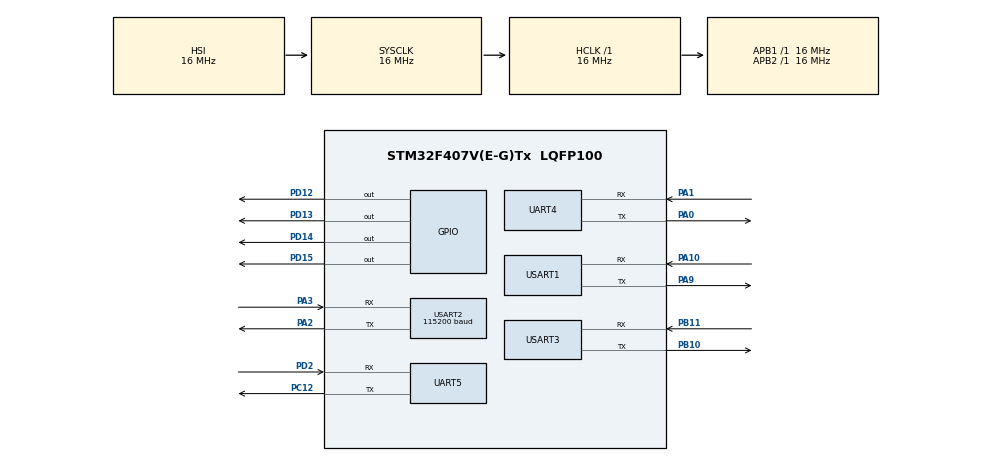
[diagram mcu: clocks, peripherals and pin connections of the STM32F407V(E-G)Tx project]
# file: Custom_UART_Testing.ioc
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Mcu.Family=STM32F4
Mcu.Name=STM32F407V(E-G)Tx
Mcu.Package=LQFP100
NVIC.PriorityGroup=NVIC_PRIORITYGROUP_4
NVIC.UART4_IRQn=true\:0\:0\:false\:false\:true\:true\:true\:true
NVIC.UART5_IRQn=true\:0\:0\:false\:false\:true\:true\:true\:true
NVIC.USART1_IRQn=true\:0\:0\:false\:false\:true\:true\:true\:true
NVIC.USART2_IRQn=true\:0\:0\:false\:false\:true\:true\:true\:true
NVIC.USART3_IRQn=true\:0\:0\:false\:false\:true\:true\:true\:true
PA0-WKUP.Mode=Asynchronous
PA0-WKUP.Signal=UART4_TX
PA1.Mode=Asynchronous
PA1.Signal=UART4_RX
PA10.Mode=Asynchronous
PA10.Signal=USART1_RX
PA2.Mode=Asynchronous
PA2.Signal=USART2_TX
PA3.Mode=Asynchronous
PA3.Signal=USART2_RX
PA9.Mode=Asynchronous
PA9.Signal=USART1_TX
PB10.Mode=Asynchronous
PB10.Signal=USART3_TX
PB11.Mode=Asynchronous
PB11.Signal=USART3_RX
PC12.Mode=Asynchronous
PC12.Signal=UART5_TX
PD12.Signal=GPIO_Output
PD13.Signal=GPIO_Output
PD14.Signal=GPIO_Output
PD15.Signal=GPIO_Output
PD2.Mode=Asynchronous
PD2.Signal=UART5_RX
ProjectManager.HeapSize=0x200
ProjectManager.StackSize=0x400
ProjectManager.TargetToolchain=STM32CubeIDE
RCC.AHBFreq_Value=16000000
RCC.APB1Freq_Value=16000000
RCC.APB2Freq_Value=16000000
RCC.CortexFreq_Value=16000000
RCC.HSE_VALUE=25000000
RCC.HSI_VALUE=16000000
RCC.LSE_VALUE=32768
RCC.SYSCLKFreq_VALUE=16000000
RCC.VCOOutputFreq_Value=192000000
UART4.VirtualMode=Asynchronous
UART5.VirtualMode=Asynchronous
USART1.VirtualMode=VM_ASYNC
USART2.BaudRate=115200
USART2.VirtualMode=VM_ASYNC
USART3.VirtualMode=VM_ASYNC
board=custom

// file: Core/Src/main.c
/* USER CODE BEGIN Header */
/**
  ******************************************************************************
  * @file           : main.c
  * @brief          : Main program for reception of UART packets
  * @date			: 2/20/24
  * @author			: S24-21
  ******************************************************************************
  * @attention
  *
  * Copyright (c) 2024 STMicroelectronics.
  * All rights reserved.
  *
  * This software is licensed under terms that can be found in the LICENSE file
  * in the root directory of this software component.
  * If no LICENSE file comes with this software, it is provided AS-IS.
  *
  ******************************************************************************
  */
/* USER CODE END Header */
#include "main.h"

UART_HandleTypeDef huart1;
UART_HandleTypeDef huart2;
UART_HandleTypeDef huart3;
UART_HandleTypeDef huart4;
UART_HandleTypeDef huart5;

/* USER CODE BEGIN PV */

/*
 * PACKET STRUCTURE --> |SOP|DATATYPE|SENSOR ID|TIMESTAMP|DATA|CRC|EOP|
 * 						|1B|1B|1B|4B|8B|1B|1B| = 17 Bytes
 */
#define TEMPERATURE 0b00
#define HUMIDITY 0b01
#define SOUND 0b10
#define VIBRATION 0b11

typedef struct {
  uint8_t sop;        // Start of packet
  uint8_t datatype;   // Data type
  uint8_t sensorId;   // Sensor ID
  uint32_t timestamp; // Timestamp
//  uint64_t data; 	  // Sensor data
  int64_t data;        // Sensor data
  uint8_t crc;        // CRC for error checking
  uint8_t eop;
} SensorDataPacket;

typedef enum { // FSM States
    UART_WAIT_FOR_SOP,
    UART_DATATYPE,
    UART_SENSOR_ID,
    UART_TIMESTAMP,
    UART_DATA,
    UART_CRC,
	UART_EOP,
    UART_DONE
} UART_State_t;

// Declaration for USART1
uint8_t rx_data1[1];
SensorDataPacket sensorData1;
UART_State_t uartState1 = UART_WAIT_FOR_SOP;
uint32_t timestampBuffer1;
uint64_t dataBuffer1;
uint32_t dataIndex1 = 0; // Used for buffer indexing

// Declaration for USART2
uint8_t rx_data2[1];
SensorDataPacket sensorData2;
UART_State_t uartState2 = UART_WAIT_FOR_SOP;
uint32_t timestampBuffer2;
uint64_t dataBuffer2;
uint32_t dataIndex2 = 0; // Used for buffer indexing

// Declaration for USART4
uint8_t rx_data3[1];
SensorDataPacket sensorData3;
UART_State_t uartState3 = UART_WAIT_FOR_SOP;
uint32_t timestampBuffer3;
uint64_t dataBuffer3;
uint32_t dataIndex3 = 0; // Used for buffer indexing

uint8_t crc_calculated = 0; // Placeholder for the calculated CRC
//uint32_t dataIndex = 0; // Used for buffer indexing

/* USER CODE END PV */

void SystemClock_Config(void);
static void MX_GPIO_Init(void);
static void MX_USART2_UART_Init(void);
static void MX_USART3_UART_Init(void);
static void MX_USART1_UART_Init(void);
static void MX_UART4_Init(void);
static void MX_UART5_Init(void);
/* USER CODE BEGIN PFP */
void resetState(void);
int validateCRC(const SensorDataPacket *packet);
void printData(const SensorDataPacket *packet);
void processUartData(UART_HandleTypeDef *huart, SensorDataPacket *sensorData, uint8_t *rxData,
                     UART_State_t *uartState, uint32_t *timestampBuffer, uint64_t *dataBuffer, uint32_t *dataIndex);
void resetUartState(UART_State_t *uartState, uint32_t *timestampBuffer, uint64_t *dataBuffer);
void unpackData(uint64_t packedData, int16_t* x, int16_t* y, int16_t* z);
/* USER CODE END PFP */

/* USER CODE BEGIN 0 */

void HAL_UART_RxCpltCallback(UART_HandleTypeDef *huart) {
    if(huart->Instance == USART1) {
        // Process data from USART1
    	processUartData(huart, &sensorData1, rx_data1, &uartState1, &timestampBuffer1, &dataBuffer1, &dataIndex1);
    }
    else if(huart->Instance == USART2) {
        // Process data from USART2
    	processUartData(huart, &sensorData2, rx_data2, &uartState2, &timestampBuffer2, &dataBuffer2, &dataIndex2);
    }
    else if(huart->Instance == UART4) {
        // Process data from USART2
    	processUartData(huart, &sensorData3, rx_data3, &uartState3, &timestampBuffer3, &dataBuffer3, &dataIndex3);
    }

    // Re-enable UART reception interrupt correctly for each port
    if (huart->Instance == USART1) {
        HAL_UART_Receive_IT(&huart1, rx_data1, 1);
    }
    else if (huart->Instance == USART2) {
        HAL_UART_Receive_IT(&huart2, rx_data2, 1);
    }
    else if (huart->Instance == UART4) {
    	HAL_UART_Receive_IT(&huart4, rx_data3, 1);
    }
}

void processUartData(UART_HandleTypeDef *huart, SensorDataPacket *sensorData, uint8_t *rxData,
                     UART_State_t *uartState, uint32_t *timestampBuffer, uint64_t *dataBuffer, uint32_t *dataIndex) {    // Your existing switch case logic here, adapted for the specific sensorData and rx_data
    // This function needs to be adapted from your existing HAL_UART_RxCpltCallback logic
	uint8_t rxByte = *rxData; // The received byte
//    	sprintf(buffer, "RxByte: 0x%08lX\r\n", rxByte);
//    	HAL_UART_Transmit(&huart3, (uint8_t*)buffer, strlen(buffer), 100); // Print debug info
    switch (*uartState) {
        case UART_WAIT_FOR_SOP: // SOP Case
            if (rxByte == 0x53) { // SOP byte = 0x53 ('S')
            	sensorData->sop = rxByte; // Set the sop
            	*uartState = UART_DATATYPE;
//                    HAL_GPIO_WritePin(GPIOD, GPIO_PIN_13, GPIO_PIN_SET); // Orange LED set when packet is complete
            }
            break;
        case UART_DATATYPE: // Data type Case
        	sensorData->datatype = rxByte; // Set th		e data type (Temp = 00, Humidity = 01, Sound = 10, Vibration = 11)
            *uartState = UART_SENSOR_ID; // Next parameter
            break;

        case UART_SENSOR_ID: // Sensor ID Case
        	sensorData->sensorId = rxByte; // Set the sensor ID (000, 001, 010, 011, 100, 101, 110, 111 (i.e. Sensor 1-8)
        	*dataIndex = 0; // Reset dataIndex for the next field
            *uartState = UART_TIMESTAMP; // Next parameter
//                HAL_GPIO_WritePin(GPIOD, GPIO_PIN_13, GPIO_PIN_SET); // Orange LED set when packet is complete
            break;

        case UART_TIMESTAMP: // Timestamp Case
            // Combine byte into timestamp assuming little endian - least significant byte first
//            	timestampBuffer |= ((uint32_t)rxByte << (24 - (dataIndex * 8)));
        	*timestampBuffer |= ((uint32_t)rxByte << ((*dataIndex-1) * 8));
//            	sprintf(buffer, "RxByte: 0x%08lX\r\n", rxByte);
//            	HAL_UART_Transmit(&huart3, (uint8_t*)buffer, strlen(buffer), 100); // Print debug info
//            	sprintf(buffer, "Timestamp partial: 0x%08lX\r\n", timestampBuffer);
//            	HAL_UART_Transmit(&huart3, (uint8_t*)buffer, strlen(buffer), 100); // Print debug info
            (*dataIndex)++;
            if (*dataIndex >= sizeof(sensorData->timestamp)) {
                sensorData->timestamp = *timestampBuffer; // Assign the complete timestamp
                *dataIndex = 0; // Reset dataIndex for the data field
                *timestampBuffer = 0; // Clear the buffer for the next use
                *uartState = UART_DATA; // Move to the next state
            }
            break;

        case UART_DATA: // Data Case
            // Combine byte into data assuming little endian - least significant byte first
        	*dataBuffer |= ((uint64_t)rxByte << ((*dataIndex-1) * 8));//            	sprintf(buffer, "Data partial: 0x%016llx\r\n", dataBuffer);
//            	HAL_UART_Transmit(&huart3, (uint8_t*)buffer, strlen(buffer), 100); // Print debug info
            (*dataIndex)++;
            if (*dataIndex >= sizeof(sensorData->data)) {
                sensorData->data = *dataBuffer; // Assign the complete data
                *dataIndex = 0; // Reset dataIndex for the CRC field
                *dataBuffer = 0; // Clear the buffer for the next use
                *uartState = UART_CRC; // Move to the next state
            }
            break;

        case UART_CRC: // CRC Case
        	if(rxByte != 0){
                sensorData->crc = rxByte; // Set the CRC value based on algorithm
                *uartState = UART_EOP; // Next parameter
        	}
//                HAL_GPIO_WritePin(GPIOD, GPIO_PIN_13, GPIO_PIN_SET); // Orange LED set when packet is complete
            break;

        case UART_EOP:
            if (rxByte == 0x45) { // EOP byte = 0x45 ('E')
                *uartState = UART_DONE; // Packet reception is complete
                sensorData->eop = rxByte; // Set the eop
                if(huart->Instance == USART1){
                	HAL_GPIO_WritePin(GPIOD, GPIO_PIN_12, GPIO_PIN_SET); // Red LED set when packet is complete
                }
                else if(huart->Instance == USART2){
                	HAL_GPIO_WritePin(GPIOD, GPIO_PIN_13, GPIO_PIN_SET); // Orange LED set when packet is complete
                }
                else if(huart->Instance == UART4){
                	HAL_GPIO_WritePin(GPIOD, GPIO_PIN_14, GPIO_PIN_SET); // Blue LED set when packet is complete
                }
//                HAL_GPIO_WritePin(GPIOD, GPIO_PIN_13, GPIO_PIN_SET); // Orange LED set when packet is complete
            } else {
//                    uartState = UART_DONE; // Packet reception is complete
//                    sensorData.eop = rxByte; // Set the eop
//                    HAL_GPIO_WritePin(GPIOD, GPIO_PIN_13, GPIO_PIN_SET); // Orange LED set when packet is complete
                uartState = UART_WAIT_FOR_SOP; // Invalid EOP, reset FSM
            }
            break;

        case UART_DONE:
            // Packet is complete, validate CRC and take appropriate action
//                if (validateCRC(&sensorData)) {
//                    processData(&sensorData); // Process the data
//                }
        	printData(sensorData); // Process the data
        	resetUartState(uartState, timestampBuffer, dataBuffer);
            break;
    }
    // Ready to receive the next byte
    HAL_UART_Receive_IT(huart, rxData, 1);
}

void resetUartState(UART_State_t *uartState, uint32_t *timestampBuffer, uint64_t *dataBuffer) {
    *uartState = UART_WAIT_FOR_SOP; // Reset UART state
    *timestampBuffer = 0; // Clear the timestamp buffer
    *dataBuffer = 0; // Clear the data buffer
    HAL_GPIO_WritePin(GPIOD, GPIO_PIN_12, GPIO_PIN_RESET);
    HAL_GPIO_WritePin(GPIOD, GPIO_PIN_13, GPIO_PIN_RESET);
    HAL_GPIO_WritePin(GPIOD, GPIO_PIN_14, GPIO_PIN_RESET);
    HAL_GPIO_WritePin(GPIOD, GPIO_PIN_15, GPIO_PIN_RESET);
}

int validateCRC(const SensorDataPacket *packet) {
    // Placeholder function to validate CRC - replace with actual CRC calculation
    return packet->crc == crc_calculated;
}

void printData(const SensorDataPacket *packet) {
    char buffer[100]; // Ensure the buffer is large enough for all the data
    char buffer2[100]; // Ensure the buffer is large enough for all the data
    double data;
    // Assuming the data field is treated as fixed-point and needs to be converted back to float
    if(packet->datatype != VIBRATION){
        data = packet->data / 100.0;  // Convert fixed-point back to double
    }

    // Start of Packet (SOP) - Hexadecimal
    sprintf(buffer, "SOP: 0x%02X\r\n", packet->sop);
    HAL_UART_Transmit(&huart3, (uint8_t*)buffer, strlen(buffer), 100);

    // Data Type - Binary
    sprintf(buffer, "Data Type: %u\r\n", packet->datatype);
    HAL_UART_Transmit(&huart3, (uint8_t*)buffer, strlen(buffer), 100);

    // Sensor ID - Binary
    sprintf(buffer, "Sensor ID: %u\r\n", packet->sensorId);
    HAL_UART_Transmit(&huart3, (uint8_t*)buffer, strlen(buffer), 100);

    // Timestamp - Decimal
    sprintf(buffer, "Timestamp: %lu\r\n", packet->timestamp);
    HAL_UART_Transmit(&huart3, (uint8_t*)buffer, strlen(buffer), 100);

//    // Data - Decimal
//    sprintf(buffer, "Data: %lu\r\n", packet->data);
//    HAL_UART_Transmit(&huart3, (uint8_t*)buffer, strlen(buffer), 100);

    if(packet->datatype == TEMPERATURE) {
        // For non-vibration data, print as before
    	sprintf(buffer, "Temp: %.2f C\r\n", data);
    }
    else if(packet->datatype == HUMIDITY){
    	sprintf(buffer, "Hum: %.2f %%\r\n", data);
    }
    else if(packet->datatype == SOUND){
    	sprintf(buffer, "Sound: %.2f dB\r\n", data);
    }
    else if (packet->datatype == VIBRATION) {
        int16_t x, y, z;
        unpackData(packet->data, &x, &y, &z);
        // Display the scaled values with two decimal places as floating points
        float x_float = x / 100.0f;
        float y_float = y / 100.0f;
        float z_float = z / 100.0f;
//        sprintf(buffer2, "Data: %lu\r\n", packet->data);
        sprintf(buffer, "X: %.2f G\tY: %.2f G\tZ: %.2f G\r\n", x_float, y_float, z_float);
    }
//    HAL_UART_Transmit(&huart3, (uint8_t*)buffer2, strlen(buffer), 100);
    HAL_UART_Transmit(&huart3, (uint8_t*)buffer, strlen(buffer), 100);

    // CRC - Hexadecimal
    sprintf(buffer, "CRC: 0x%02X\r\n", packet->crc);
    HAL_UART_Transmit(&huart3, (uint8_t*)buffer, strlen(buffer), 100);

    // End of Packet (EOP) - Hexadecimal
    sprintf(buffer, "EOP: 0x%02X\r\n", packet->eop);
    HAL_UART_Transmit(&huart3, (uint8_t*)buffer, strlen(buffer), 100);

    // Separator
    HAL_UART_Transmit(&huart3, (uint8_t*)"--------\r\n", 10, 100);
}

void unpackData(uint64_t packedData, int16_t* x, int16_t* y, int16_t* z) {
    *x = (int16_t)((packedData >> 32) & 0xFFFF);
    *y = (int16_t)((packedData >> 16) & 0xFFFF);
    *z = (int16_t)(packedData & 0xFFFF);
}

//uint8_t CalculateCRC(uint8_t *data, size_t len) {
//    uint8_t crc = 0;
//    for(size_t i = 0; i < len; ++i) {
//        crc ^= data[i];
//    }
//    return crc;
//}

/* USER CODE END 0 */

int main(void)
{

  /* MCU Configuration--------------------------------------------------------*/

  /* Reset of all peripherals, Initializes the Flash interface and the Systick. */
  HAL_Init();

  /* Configure the system clock */
  SystemClock_Config();

  /* Initialize all configured peripherals */
  MX_GPIO_Init();
  MX_USART2_UART_Init();
  MX_USART3_UART_Init();
  MX_USART1_UART_Init();
  MX_UART4_Init();
  MX_UART5_Init();
  /* USER CODE BEGIN 2 */
  HAL_UART_Receive_IT(&huart1, rx_data1, 1);
  HAL_UART_Receive_IT(&huart2, rx_data2, 1);
  HAL_UART_Receive_IT(&huart4, rx_data3, 1);
  /* USER CODE END 2 */

  /* Infinite loop */
  while (1)
  {

  }
}

void SystemClock_Config(void)
{
  RCC_OscInitTypeDef RCC_OscInitStruct = {0};
  RCC_ClkInitTypeDef RCC_ClkInitStruct = {0};

  /** Configure the main internal regulator output voltage
  */
  __HAL_RCC_PWR_CLK_ENABLE();
  __HAL_PWR_VOLTAGESCALING_CONFIG(PWR_REGULATOR_VOLTAGE_SCALE1);

  /** Initializes the RCC Oscillators according to the specified parameters
  * in the RCC_OscInitTypeDef structure.
  */
  RCC_OscInitStruct.OscillatorType = RCC_OSCILLATORTYPE_HSI;
  RCC_OscInitStruct.HSIState = RCC_HSI_ON;
  RCC_OscInitStruct.HSICalibrationValue = RCC_HSICALIBRATION_DEFAULT;
  RCC_OscInitStruct.PLL.PLLState = RCC_PLL_NONE;
  if (HAL_RCC_OscConfig(&RCC_OscInitStruct) != HAL_OK)
  {
    Error_Handler();
  }

  /** Initializes the CPU, AHB and APB buses clocks
  */
  RCC_ClkInitStruct.ClockType = RCC_CLOCKTYPE_HCLK|RCC_CLOCKTYPE_SYSCLK
                              |RCC_CLOCKTYPE_PCLK1|RCC_CLOCKTYPE_PCLK2;
  RCC_ClkInitStruct.SYSCLKSource = RCC_SYSCLKSOURCE_HSI;
  RCC_ClkInitStruct.AHBCLKDivider = RCC_SYSCLK_DIV1;
  RCC_ClkInitStruct.APB1CLKDivider = RCC_HCLK_DIV1;
  RCC_ClkInitStruct.APB2CLKDivider = RCC_HCLK_DIV1;

  if (HAL_RCC_ClockConfig(&RCC_ClkInitStruct, FLASH_LATENCY_0) != HAL_OK)
  {
    Error_Handler();
  }
}

static void MX_UART4_Init(void)
{

  huart4.Instance = UART4;
  huart4.Init.BaudRate = 115200;
  huart4.Init.WordLength = UART_WORDLENGTH_8B;
  huart4.Init.StopBits = UART_STOPBITS_1;
  huart4.Init.Parity = UART_PARITY_NONE;
  huart4.Init.Mode = UART_MODE_TX_RX;
  huart4.Init.HwFlowCtl = UART_HWCONTROL_NONE;
  huart4.Init.OverSampling = UART_OVERSAMPLING_16;
  if (HAL_UART_Init(&huart4) != HAL_OK)
  {
    Error_Handler();
  }

}

static void MX_UART5_Init(void)
{

  huart5.Instance = UART5;
  huart5.Init.BaudRate = 115200;
  huart5.Init.WordLength = UART_WORDLENGTH_8B;
  huart5.Init.StopBits = UART_STOPBITS_1;
  huart5.Init.Parity = UART_PARITY_NONE;
  huart5.Init.Mode = UART_MODE_TX_RX;
  huart5.Init.HwFlowCtl = UART_HWCONTROL_NONE;
  huart5.Init.OverSampling = UART_OVERSAMPLING_16;
  if (HAL_UART_Init(&huart5) != HAL_OK)
  {
    Error_Handler();
  }

}

static void MX_USART1_UART_Init(void)
{

  huart1.Instance = USART1;
  huart1.Init.BaudRate = 115200;
  huart1.Init.WordLength = UART_WORDLENGTH_8B;
  huart1.Init.StopBits = UART_STOPBITS_1;
  huart1.Init.Parity = UART_PARITY_NONE;
  huart1.Init.Mode = UART_MODE_TX_RX;
  huart1.Init.HwFlowCtl = UART_HWCONTROL_NONE;
  huart1.Init.OverSampling = UART_OVERSAMPLING_16;
  if (HAL_UART_Init(&huart1) != HAL_OK)
  {
    Error_Handler();
  }

}

static void MX_USART2_UART_Init(void)
{

  huart2.Instance = USART2;
  huart2.Init.BaudRate = 115200;
  huart2.Init.WordLength = UART_WORDLENGTH_8B;
  huart2.Init.StopBits = UART_STOPBITS_1;
  huart2.Init.Parity = UART_PARITY_NONE;
  huart2.Init.Mode = UART_MODE_TX_RX;
  huart2.Init.HwFlowCtl = UART_HWCONTROL_NONE;
  huart2.Init.OverSampling = UART_OVERSAMPLING_16;
  if (HAL_UART_Init(&huart2) != HAL_OK)
  {
    Error_Handler();
  }

}

static void MX_USART3_UART_Init(void)
{

  huart3.Instance = USART3;
  huart3.Init.BaudRate = 115200;
  huart3.Init.WordLength = UART_WORDLENGTH_8B;
  huart3.Init.StopBits = UART_STOPBITS_1;
  huart3.Init.Parity = UART_PARITY_NONE;
  huart3.Init.Mode = UART_MODE_TX_RX;
  huart3.Init.HwFlowCtl = UART_HWCONTROL_NONE;
  huart3.Init.OverSampling = UART_OVERSAMPLING_16;
  if (HAL_UART_Init(&huart3) != HAL_OK)
  {
    Error_Handler();
  }

}

static void MX_GPIO_Init(void)
{
  GPIO_InitTypeDef GPIO_InitStruct = {0};

  /* GPIO Ports Clock Enable */
  __HAL_RCC_GPIOA_CLK_ENABLE();
  __HAL_RCC_GPIOB_CLK_ENABLE();
  __HAL_RCC_GPIOD_CLK_ENABLE();
  __HAL_RCC_GPIOC_CLK_ENABLE();

  /*Configure GPIO pin Output Level */
  HAL_GPIO_WritePin(GPIOD, GPIO_PIN_12|GPIO_PIN_13|GPIO_PIN_14|GPIO_PIN_15, GPIO_PIN_RESET);

  /*Configure GPIO pins : PD13 PD15 */
  GPIO_InitStruct.Pin =  GPIO_PIN_12|GPIO_PIN_13|GPIO_PIN_14|GPIO_PIN_15;
  GPIO_InitStruct.Mode = GPIO_MODE_OUTPUT_PP;
  GPIO_InitStruct.Pull = GPIO_NOPULL;
  GPIO_InitStruct.Speed = GPIO_SPEED_FREQ_LOW;
  HAL_GPIO_Init(GPIOD, &GPIO_InitStruct);

}

void Error_Handler(void)
{
  __disable_irq();
  while (1)
  {
  }
}
